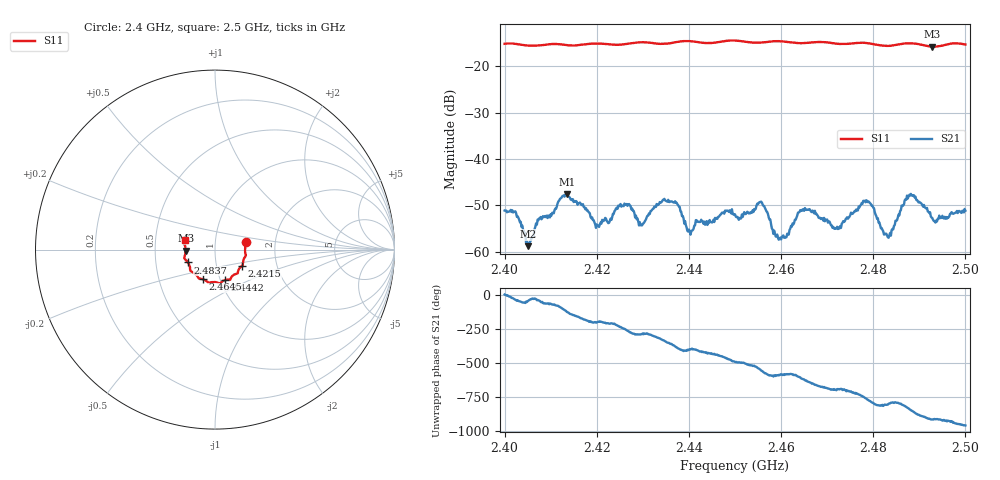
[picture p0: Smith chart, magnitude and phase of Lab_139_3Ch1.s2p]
# Hz S RI R 50
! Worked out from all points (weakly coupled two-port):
!   601 points, 2.4 GHz to 2.5 GHz, reference 50 ohm
!   highest |S21| = -47.53 dB at 2.4135 GHz (marker M1); lowest = -58.8 dB at 2.4052 GHz (marker M2)
!   lowest |S11| = -15.7 dB at 2.4928 GHz (marker M3), VSWR 1.39, Z = 36 - j0.379 ohm
!   |S11| at or under -10 dB: start of sweep to end of sweep
!   S12 and S22 are empty: the file has one direction only
!   S11 on the Smith chart (normalised r, x): 2.4 GHz: 1.41, +0.12; 2.4215 GHz: 1.33, -0.25; 2.4442 GHz: 1.05, -0.37; 2.4645 GHz: 0.83, -0.29; 2.4837 GHz: 0.73, -0.11; 2.5 GHz: 0.71, +0.07
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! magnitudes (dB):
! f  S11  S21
! 2.4 GHz  -15.1  -51.1
! 2.4052 GHz  -15.5  -58.8
! 2.4135 GHz  -15.4  -47.5
! 2.4167 GHz  -15.3  -49.9
! 2.4215 GHz  -15.1  -53.4
! 2.4297 GHz  -14.8  -54.2
! 2.4333 GHz  -15.1  -49.9
! 2.4375 GHz  -14.7  -49.8
! 2.4402 GHz  -14.5  -55.5
! 2.4442 GHz  -15.0  -53.5
! 2.45 GHz  -14.4  -51.9
! 2.4557 GHz  -14.8  -49.2
! 2.4598 GHz  -14.5  -57.0
! 2.4645 GHz  -15.0  -51.2
! 2.4667 GHz  -14.8  -51.5
! 2.4722 GHz  -15.1  -54.6
! 2.4787 GHz  -15.0  -49.0
! 2.4833 GHz  -15.6  -57.0
! 2.4837 GHz  -15.5  -56.0
! 2.4878 GHz  -15.0  -47.7
! 2.4928 GHz  -15.7  -52.8
! 2.5 GHz  -15.3  -51.2
